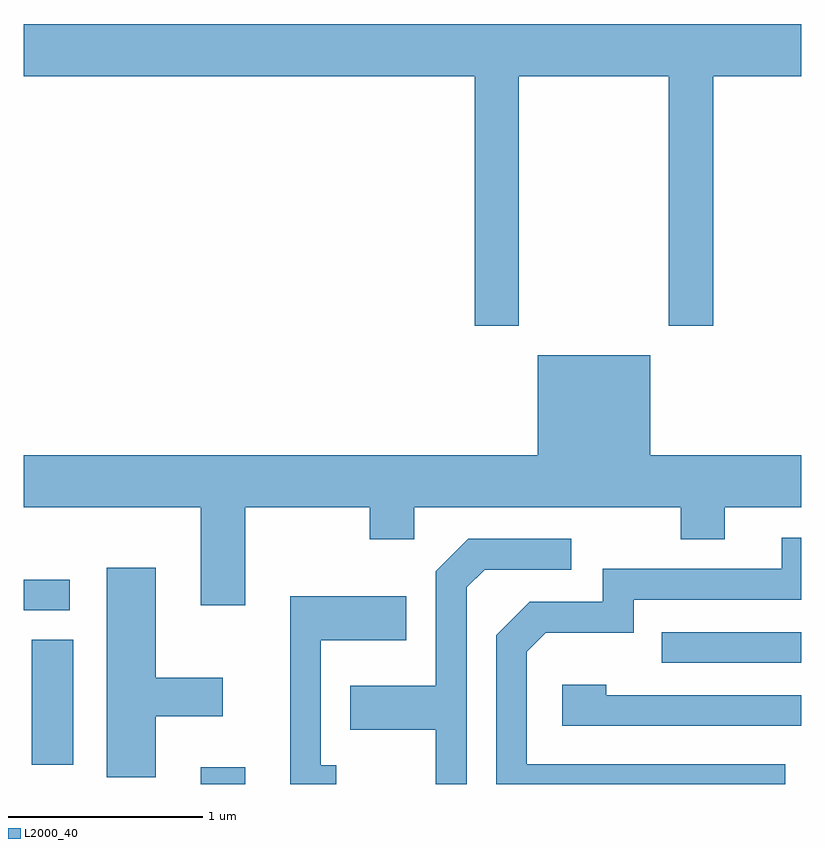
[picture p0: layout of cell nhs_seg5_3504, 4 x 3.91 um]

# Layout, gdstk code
import gdstk
lib = gdstk.Library(unit=1e-6, precision=1e-09)
def R(c, l, rs):  # rectangles x0, y0, x1, y1
    for r in rs: c.add(gdstk.rectangle(r[:2], r[2:], *l))
def P(c, l, *ps):  # polygons
    for p in ps: c.add(gdstk.Polygon(p, *l))
L2000_40 = (2000, 40)

nhs_seg5_3504 = lib.new_cell('nhs_seg5_3504')
R(nhs_seg5_3504, L2000_40, [(290.521,1422.072,290.749,1422.159), (289.651,1422.171,289.864,1422.814), (292.893,1422.696,293.611,1422.854), (289.611,1422.966,289.848,1423.124)])
P(nhs_seg5_3504, L2000_40, [(289.611,1425.716),(291.931,1425.716),(291.931,1424.431),(292.159,1424.431),(292.159,1425.716),(292.931,1425.716),(292.931,1424.431),(293.159,1424.431),(293.159,1425.716),(293.611,1425.716),(293.611,1425.984),(289.611,1425.984)],
  [(290.749,1423.496),(291.391,1423.496),(291.391,1423.331),(291.619,1423.331),(291.619,1423.496),(292.991,1423.496),(292.991,1423.331),(293.219,1423.331),(293.219,1423.496),(293.611,1423.496),(293.611,1423.764),(292.834,1423.764),(292.834,1424.279),(292.256,1424.279),(292.256,1423.764),(289.611,1423.764),(289.611,1423.496),(290.521,1423.496),(290.521,1422.991),(290.749,1422.991)],
  [(293.529,1422.174),(292.199,1422.174),(292.199,1422.754),(292.297,1422.851),(292.749,1422.851),(292.749,1423.021),(293.611,1423.021),(293.611,1423.339),(293.511,1423.339),(293.511,1423.179),(292.591,1423.179),(292.591,1423.009),(292.214,1423.009),(292.041,1422.837),(292.041,1422.072),(293.529,1422.072)],
  [(291.889,1423.084),(291.982,1423.176),(292.428,1423.176),(292.428,1423.334),(291.899,1423.334),(291.731,1423.167),(291.731,1422.579),(291.291,1422.579),(291.291,1422.351),(291.731,1422.351),(291.731,1422.072),(291.889,1422.072)],
  [(290.289,1422.421),(290.634,1422.421),(290.634,1422.619),(290.289,1422.619),(290.289,1423.184),(290.036,1423.184),(290.036,1422.106),(290.289,1422.106)],
  [(291.218,1422.169),(291.139,1422.169),(291.139,1422.811),(291.579,1422.811),(291.579,1423.039),(290.981,1423.039),(290.981,1422.072),(291.218,1422.072)],
  [(293.611,1422.529),(292.609,1422.529),(292.609,1422.584),(292.381,1422.584),(292.381,1422.371),(293.611,1422.371)])

lib.write_gds('nhs_seg5_3504.gds')
